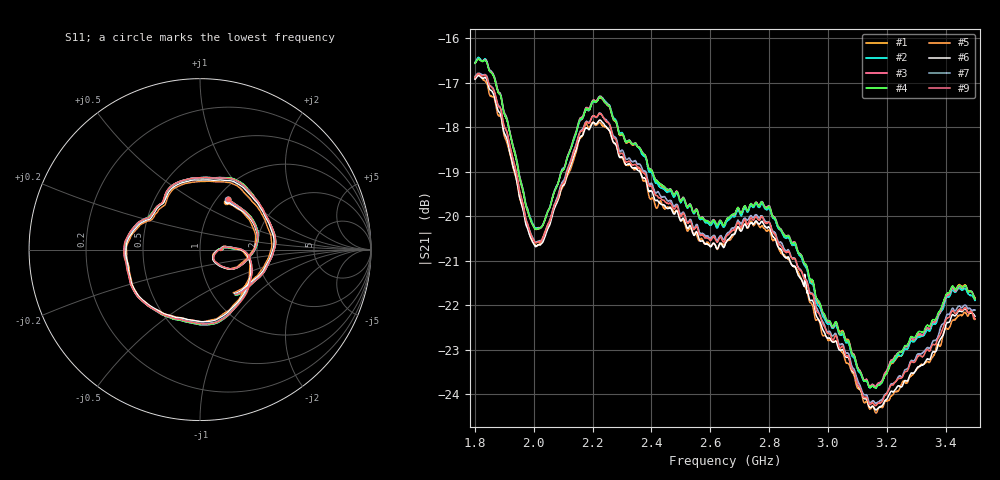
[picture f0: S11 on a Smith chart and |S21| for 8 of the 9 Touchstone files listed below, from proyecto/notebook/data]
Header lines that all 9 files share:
! Created with skrf 1.9.0 (http://scikit-rf.org).
# Hz S RI R 50.0
!freq ReS11 ImS11 ReS21 ImS21 ReS12 ImS12 ReS22 ImS22
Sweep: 1.8 GHz to 3.5 GHz
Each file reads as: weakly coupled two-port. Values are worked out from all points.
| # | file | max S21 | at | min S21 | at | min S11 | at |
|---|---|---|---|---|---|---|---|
| 1 | A40_D06_B2_O120_corrected.s2p | -16.46 dB | 1.812 GHz | -23.8 dB | 3.162 GHz | -21.4 dB | 2.089 GHz |
| 2 | A40_D07_B2_O240_corrected.s2p | -16.43 dB | 1.812 GHz | -23.9 dB | 3.162 GHz | -21.3 dB | 2.089 GHz |
| 3 | A40_D08_B2_O000_corrected.s2p | -16.46 dB | 1.811 GHz | -23.8 dB | 3.161 GHz | -21.2 dB | 2.089 GHz |
| 4 | A40_D08_B2_O120_corrected.s2p | -16.47 dB | 1.811 GHz | -23.9 dB | 3.162 GHz | -21.3 dB | 2.089 GHz |
| 5 | A41_D02_B2_O120_corrected.s2p | -16.83 dB | 1.811 GHz | -24.4 dB | 3.163 GHz | -21.9 dB | 2.092 GHz |
| 6 | A41_D04_B2_O120_corrected.s2p | -16.83 dB | 1.812 GHz | -24.3 dB | 3.162 GHz | -21.4 dB | 2.091 GHz |
| 7 | A41_D05_B2_O240_corrected.s2p | -16.78 dB | 1.815 GHz | -24.2 dB | 3.162 GHz | -21.1 dB | 2.09 GHz |
| 8 | A41_D08_B2_O000_corrected.s2p | -16.81 dB | 1.811 GHz | -24.3 dB | 3.162 GHz | -21.0 dB | 2.089 GHz |
| 9 | A41_D08_B2_O120_corrected.s2p | -16.79 dB | 1.812 GHz | -24.3 dB | 3.161 GHz | -20.9 dB | 2.09 GHz |
